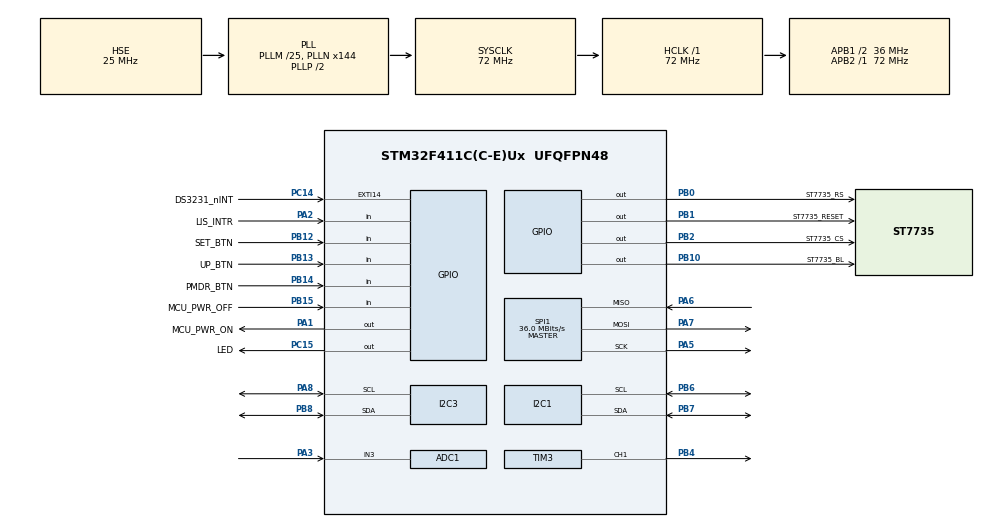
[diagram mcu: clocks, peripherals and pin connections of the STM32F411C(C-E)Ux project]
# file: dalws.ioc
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ADC1.Channel-0\#ChannelRegularConversion=ADC_CHANNEL_3
ADC1.NbrOfConversionFlag=1
ADC1.Rank-0\#ChannelRegularConversion=1
ADC1.SamplingTime-0\#ChannelRegularConversion=ADC_SAMPLETIME_3CYCLES
ADC1.master=1
Dma.Request0=SPI1_TX
Dma.SPI1_TX.0.Direction=DMA_MEMORY_TO_PERIPH
Dma.SPI1_TX.0.FIFOMode=DMA_FIFOMODE_DISABLE
Dma.SPI1_TX.0.Instance=DMA2_Stream2
Dma.SPI1_TX.0.MemDataAlignment=DMA_MDATAALIGN_BYTE
Dma.SPI1_TX.0.MemInc=DMA_MINC_ENABLE
Dma.SPI1_TX.0.Mode=DMA_NORMAL
Dma.SPI1_TX.0.PeriphDataAlignment=DMA_PDATAALIGN_BYTE
Dma.SPI1_TX.0.PeriphInc=DMA_PINC_DISABLE
Dma.SPI1_TX.0.Priority=DMA_PRIORITY_LOW
Mcu.Family=STM32F4
Mcu.Name=STM32F411C(C-E)Ux
Mcu.Package=UFQFPN48
NVIC.DMA2_Stream2_IRQn=true\:0\:0\:false\:false\:true\:false\:true\:true
NVIC.EXTI15_10_IRQn=true\:0\:0\:false\:false\:true\:true\:true\:true
NVIC.PriorityGroup=NVIC_PRIORITYGROUP_4
NVIC.TIM1_TRG_COM_TIM11_IRQn=true\:0\:0\:false\:false\:true\:true\:true\:true
NVIC.TIM1_UP_TIM10_IRQn=true\:0\:0\:false\:false\:true\:true\:true\:true
PA1.GPIO_Label=MCU_PWR_ON
PA1.Signal=GPIO_Output
PA13.Mode=Trace_Asynchronous_SW
PA13.Signal=SYS_JTMS-SWDIO
PA14.Mode=Trace_Asynchronous_SW
PA14.Signal=SYS_JTCK-SWCLK
PA2.GPIO_Label=LIS_INTR
PA2.Signal=GPIO_Input
PA3.Signal=ADCx_IN3
PA5.Mode=Full_Duplex_Master
PA5.Signal=SPI1_SCK
PA6.Mode=Full_Duplex_Master
PA6.Signal=SPI1_MISO
PA7.Mode=Full_Duplex_Master
PA7.Signal=SPI1_MOSI
PA8.GPIO_Pu=GPIO_PULLUP
PA8.Mode=I2C
PA8.Signal=I2C3_SCL
PB0.GPIO_Label=ST7735_RS
PB0.Signal=GPIO_Output
PB1.GPIO_Label=ST7735_RESET
PB1.Signal=GPIO_Output
PB10.GPIO_Label=ST7735_BL
PB10.Signal=GPIO_Output
PB12.GPIO_Label=SET_BTN
PB12.GPIO_PuPd=GPIO_PULLUP
PB12.Signal=GPIO_Input
PB13.GPIO_Label=UP_BTN
PB13.GPIO_PuPd=GPIO_PULLUP
PB13.Signal=GPIO_Input
PB14.GPIO_Label=PMDR_BTN
PB14.GPIO_PuPd=GPIO_PULLUP
PB14.Signal=GPIO_Input
PB15.GPIO_Label=MCU_PWR_OFF
PB15.GPIO_PuPd=GPIO_PULLUP
PB15.Signal=GPIO_Input
PB2.GPIO_Label=ST7735_CS
PB2.Signal=GPIO_Output
PB3.Mode=Trace_Asynchronous_SW
PB3.Signal=SYS_JTDO-SWO
PB4.Signal=S_TIM3_CH1
PB6.GPIO_Pu=GPIO_PULLUP
PB6.Mode=I2C
PB6.Signal=I2C1_SCL
PB7.GPIO_Pu=GPIO_PULLUP
PB7.Mode=I2C
PB7.Signal=I2C1_SDA
PB8.GPIO_Pu=GPIO_PULLUP
PB8.Mode=I2C
PB8.Signal=I2C3_SDA
PC14-OSC32_IN.GPIO_Label=DS3231_nINT
PC14-OSC32_IN.GPIO_ModeDefaultEXTI=GPIO_MODE_IT_FALLING
PC14-OSC32_IN.Signal=GPXTI14
PC15-OSC32_OUT.GPIO_Label=LED
PC15-OSC32_OUT.Signal=GPIO_Output
PH0\ -\ OSC_IN.Mode=HSE-External-Oscillator
PH0\ -\ OSC_IN.Signal=RCC_OSC_IN
PH1\ -\ OSC_OUT.Mode=HSE-External-Oscillator
PH1\ -\ OSC_OUT.Signal=RCC_OSC_OUT
ProjectManager.HeapSize=0x200
ProjectManager.StackSize=0x400
ProjectManager.TargetToolchain=Makefile
RCC.48MHZClocksFreq_Value=36000000
RCC.AHBFreq_Value=72000000
RCC.APB1CLKDivider=RCC_HCLK_DIV2
RCC.APB1Freq_Value=36000000
RCC.APB1TimFreq_Value=72000000
RCC.APB2Freq_Value=72000000
RCC.APB2TimFreq_Value=72000000
RCC.CortexFreq_Value=72000000
RCC.HCLKFreq_Value=72000000
RCC.HSE_VALUE=25000000
RCC.HSI_VALUE=16000000
RCC.LSE_VALUE=32768
RCC.PLLM=25
RCC.PLLN=144
RCC.PLLSourceVirtual=RCC_PLLSOURCE_HSE
RCC.SYSCLKFreq_VALUE=72000000
RCC.SYSCLKSource=RCC_SYSCLKSOURCE_PLLCLK
RCC.VCOOutputFreq_Value=144000000
SH.ADCx_IN3.0=ADC1_IN3,IN3
SH.S_TIM3_CH1.0=TIM3_CH1,PWM Generation1 CH1
SPI1.BaudRatePrescaler=SPI_BAUDRATEPRESCALER_2
SPI1.CalculateBaudRate=36.0 MBits/s
SPI1.DataSize=SPI_DATASIZE_8BIT
SPI1.Direction=SPI_DIRECTION_2LINES
SPI1.Mode=SPI_MODE_MASTER
SPI1.VirtualType=VM_MASTER
TIM10.Period=1000 - 1
TIM10.Prescaler=7200 - 1
TIM11.Period=10000 - 1
TIM11.Prescaler=7200 - 1
TIM3.AutoReloadPreload=TIM_AUTORELOAD_PRELOAD_ENABLE
TIM3.Channel-PWM\ Generation1\ CH1=TIM_CHANNEL_1
TIM3.Period=100 - 1
TIM3.Prescaler=36000 - 1
VP_TIM10_VS_ClockSourceINT.Mode=Enable_Timer
VP_TIM11_VS_ClockSourceINT.Mode=Enable_Timer
board=custom

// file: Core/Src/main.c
/* USER CODE BEGIN Header */
/**
  ******************************************************************************
  * @file           : main.c
  * @brief          : Main program body
  ******************************************************************************
  * @attention
  *
  * Copyright (c) 2024 STMicroelectronics.
  * All rights reserved.
  *
  * This software is licensed under terms that can be found in the LICENSE file
  * in the root directory of this software component.
  * If no LICENSE file comes with this software, it is provided AS-IS.
  *
  ******************************************************************************
  */
/* USER CODE END Header */
#include "main.h"

/* USER CODE BEGIN Includes */
#include "hdc1080.h"
#include "ds3231.h"
#include "lvgl.h"
#include "lv_port.h"
#include "ui.h"
#include "display.h"
#include "clock.h"
// #include "hdc1080.h"
/* USER CODE END Includes */

ADC_HandleTypeDef hadc1;

I2C_HandleTypeDef hi2c1;
I2C_HandleTypeDef hi2c3;

SPI_HandleTypeDef hspi1;
DMA_HandleTypeDef hdma_spi1_tx;

TIM_HandleTypeDef htim3;
TIM_HandleTypeDef htim10;
TIM_HandleTypeDef htim11;

/* USER CODE BEGIN PV */
bool state;
ds3231_t ds3231;
char buffer[100];
/* USER CODE END PV */

void SystemClock_Config(void);
static void MX_GPIO_Init(void);
static void MX_DMA_Init(void);
static void MX_I2C1_Init(void);
static void MX_SPI1_Init(void);
static void MX_TIM3_Init(void);
static void MX_TIM10_Init(void);
static void MX_ADC1_Init(void);
static void MX_I2C3_Init(void);
static void MX_TIM11_Init(void);

/* USER CODE BEGIN 0 */

void play_melody(void)
{
  for (int i = 10; i < 30; i++) {
    __HAL_TIM_SET_AUTORELOAD(&htim3, 20 * 2);
    __HAL_TIM_SET_COMPARE(&htim3, TIM_CHANNEL_1, 20);
    HAL_Delay(100);
  }
}

void display_temp_humid(void)
{
  uint16_t tempHumid[2];
  int realTemp, realHumid;
  char str[10];

  hdc1080_get_data(tempHumid);
  realTemp = (tempHumid[0]  * 165) / 65535 - 40;
  lv_snprintf(str, 10, "%d\n", (int)realTemp);
  lv_label_set_text(ui_tempnum, str);
  realHumid = (tempHumid[1]  * 100) / 65536;
  lv_snprintf(str, 10, "%d", (int)realHumid);
  lv_label_set_text(ui_humidnum, str);
}
/* USER CODE END 0 */

int main(void)
{

  /* MCU Configuration--------------------------------------------------------*/

  /* Reset of all peripherals, Initializes the Flash interface and the Systick. */
  HAL_Init();

  /* Configure the system clock */
  SystemClock_Config();

  /* Initialize all configured peripherals */
  MX_GPIO_Init();
  MX_DMA_Init();
  MX_I2C1_Init();
  MX_SPI1_Init();
  MX_TIM3_Init();
  MX_TIM10_Init();
  MX_ADC1_Init();
  MX_I2C3_Init();
  MX_TIM11_Init();
  /* USER CODE BEGIN 2 */
  HAL_GPIO_WritePin(MCU_PWR_ON_GPIO_Port, MCU_PWR_ON_Pin, 1);
  HAL_GPIO_WritePin(ST7735_BL_GPIO_Port, ST7735_BL_Pin, 1);
  HAL_GPIO_WritePin(LED_GPIO_Port, LED_Pin, 1);
  state = 1;
  ds3231_init(&hi2c3, &ds3231);
  hdc1080_init(&hi2c1);
  lv_init();
  lv_port_disp_init(&hspi1);
  ui_init();
  clk_init();
  HAL_TIM_Base_Start_IT(&htim10);

  /* USER CODE END 2 */

  /* Infinite loop */
  while (1)
  {

    /* USER CODE BEGIN 3 */
    lv_timer_handler_run_in_period(5);
    if (state && !HAL_GPIO_ReadPin(MCU_PWR_OFF_GPIO_Port, MCU_PWR_OFF_Pin)) {
      HAL_GPIO_WritePin(LED_GPIO_Port, LED_Pin, 0);
      HAL_Delay(1000);
      if (!HAL_GPIO_ReadPin(MCU_PWR_OFF_GPIO_Port, MCU_PWR_OFF_Pin)) {
        HAL_GPIO_WritePin(LED_GPIO_Port, LED_Pin, 1);
        HAL_GPIO_WritePin(MCU_PWR_ON_GPIO_Port, MCU_PWR_ON_Pin, 0);
      }
    }
  }
  /* USER CODE END 3 */
}

void SystemClock_Config(void)
{
  RCC_OscInitTypeDef RCC_OscInitStruct = {0};
  RCC_ClkInitTypeDef RCC_ClkInitStruct = {0};

  /** Configure the main internal regulator output voltage
  */
  __HAL_RCC_PWR_CLK_ENABLE();
  __HAL_PWR_VOLTAGESCALING_CONFIG(PWR_REGULATOR_VOLTAGE_SCALE1);

  /** Initializes the RCC Oscillators according to the specified parameters
  * in the RCC_OscInitTypeDef structure.
  */
  RCC_OscInitStruct.OscillatorType = RCC_OSCILLATORTYPE_HSE;
  RCC_OscInitStruct.HSEState = RCC_HSE_ON;
  RCC_OscInitStruct.PLL.PLLState = RCC_PLL_ON;
  RCC_OscInitStruct.PLL.PLLSource = RCC_PLLSOURCE_HSE;
  RCC_OscInitStruct.PLL.PLLM = 25;
  RCC_OscInitStruct.PLL.PLLN = 144;
  RCC_OscInitStruct.PLL.PLLP = RCC_PLLP_DIV2;
  RCC_OscInitStruct.PLL.PLLQ = 4;
  if (HAL_RCC_OscConfig(&RCC_OscInitStruct) != HAL_OK)
  {
    Error_Handler();
  }

  /** Initializes the CPU, AHB and APB buses clocks
  */
  RCC_ClkInitStruct.ClockType = RCC_CLOCKTYPE_HCLK|RCC_CLOCKTYPE_SYSCLK
                              |RCC_CLOCKTYPE_PCLK1|RCC_CLOCKTYPE_PCLK2;
  RCC_ClkInitStruct.SYSCLKSource = RCC_SYSCLKSOURCE_PLLCLK;
  RCC_ClkInitStruct.AHBCLKDivider = RCC_SYSCLK_DIV1;
  RCC_ClkInitStruct.APB1CLKDivider = RCC_HCLK_DIV2;
  RCC_ClkInitStruct.APB2CLKDivider = RCC_HCLK_DIV1;

  if (HAL_RCC_ClockConfig(&RCC_ClkInitStruct, FLASH_LATENCY_2) != HAL_OK)
  {
    Error_Handler();
  }
}

static void MX_ADC1_Init(void)
{

  ADC_ChannelConfTypeDef sConfig = {0};

  /** Configure the global features of the ADC (Clock, Resolution, Data Alignment and number of conversion)
  */
  hadc1.Instance = ADC1;
  hadc1.Init.ClockPrescaler = ADC_CLOCK_SYNC_PCLK_DIV2;
  hadc1.Init.Resolution = ADC_RESOLUTION_12B;
  hadc1.Init.ScanConvMode = DISABLE;
  hadc1.Init.ContinuousConvMode = DISABLE;
  hadc1.Init.DiscontinuousConvMode = DISABLE;
  hadc1.Init.ExternalTrigConvEdge = ADC_EXTERNALTRIGCONVEDGE_NONE;
  hadc1.Init.ExternalTrigConv = ADC_SOFTWARE_START;
  hadc1.Init.DataAlign = ADC_DATAALIGN_RIGHT;
  hadc1.Init.NbrOfConversion = 1;
  hadc1.Init.DMAContinuousRequests = DISABLE;
  hadc1.Init.EOCSelection = ADC_EOC_SINGLE_CONV;
  if (HAL_ADC_Init(&hadc1) != HAL_OK)
  {
    Error_Handler();
  }

  /** Configure for the selected ADC regular channel its corresponding rank in the sequencer and its sample time.
  */
  sConfig.Channel = ADC_CHANNEL_3;
  sConfig.Rank = 1;
  sConfig.SamplingTime = ADC_SAMPLETIME_3CYCLES;
  if (HAL_ADC_ConfigChannel(&hadc1, &sConfig) != HAL_OK)
  {
    Error_Handler();
  }

}

static void MX_I2C1_Init(void)
{

  hi2c1.Instance = I2C1;
  hi2c1.Init.ClockSpeed = 100000;
  hi2c1.Init.DutyCycle = I2C_DUTYCYCLE_2;
  hi2c1.Init.OwnAddress1 = 0;
  hi2c1.Init.AddressingMode = I2C_ADDRESSINGMODE_7BIT;
  hi2c1.Init.DualAddressMode = I2C_DUALADDRESS_DISABLE;
  hi2c1.Init.OwnAddress2 = 0;
  hi2c1.Init.GeneralCallMode = I2C_GENERALCALL_DISABLE;
  hi2c1.Init.NoStretchMode = I2C_NOSTRETCH_DISABLE;
  if (HAL_I2C_Init(&hi2c1) != HAL_OK)
  {
    Error_Handler();
  }

}

static void MX_I2C3_Init(void)
{

  hi2c3.Instance = I2C3;
  hi2c3.Init.ClockSpeed = 100000;
  hi2c3.Init.DutyCycle = I2C_DUTYCYCLE_2;
  hi2c3.Init.OwnAddress1 = 0;
  hi2c3.Init.AddressingMode = I2C_ADDRESSINGMODE_7BIT;
  hi2c3.Init.DualAddressMode = I2C_DUALADDRESS_DISABLE;
  hi2c3.Init.OwnAddress2 = 0;
  hi2c3.Init.GeneralCallMode = I2C_GENERALCALL_DISABLE;
  hi2c3.Init.NoStretchMode = I2C_NOSTRETCH_DISABLE;
  if (HAL_I2C_Init(&hi2c3) != HAL_OK)
  {
    Error_Handler();
  }

}

static void MX_SPI1_Init(void)
{

  /* SPI1 parameter configuration*/
  hspi1.Instance = SPI1;
  hspi1.Init.Mode = SPI_MODE_MASTER;
  hspi1.Init.Direction = SPI_DIRECTION_2LINES;
  hspi1.Init.DataSize = SPI_DATASIZE_8BIT;
  hspi1.Init.CLKPolarity = SPI_POLARITY_LOW;
  hspi1.Init.CLKPhase = SPI_PHASE_1EDGE;
  hspi1.Init.NSS = SPI_NSS_SOFT;
  hspi1.Init.BaudRatePrescaler = SPI_BAUDRATEPRESCALER_2;
  hspi1.Init.FirstBit = SPI_FIRSTBIT_MSB;
  hspi1.Init.TIMode = SPI_TIMODE_DISABLE;
  hspi1.Init.CRCCalculation = SPI_CRCCALCULATION_DISABLE;
  hspi1.Init.CRCPolynomial = 10;
  if (HAL_SPI_Init(&hspi1) != HAL_OK)
  {
    Error_Handler();
  }

}

static void MX_TIM3_Init(void)
{

  TIM_MasterConfigTypeDef sMasterConfig = {0};
  TIM_OC_InitTypeDef sConfigOC = {0};

  htim3.Instance = TIM3;
  htim3.Init.Prescaler = 36000 - 1;
  htim3.Init.CounterMode = TIM_COUNTERMODE_UP;
  htim3.Init.Period = 100 - 1;
  htim3.Init.ClockDivision = TIM_CLOCKDIVISION_DIV1;
  htim3.Init.AutoReloadPreload = TIM_AUTORELOAD_PRELOAD_ENABLE;
  if (HAL_TIM_PWM_Init(&htim3) != HAL_OK)
  {
    Error_Handler();
  }
  sMasterConfig.MasterOutputTrigger = TIM_TRGO_RESET;
  sMasterConfig.MasterSlaveMode = TIM_MASTERSLAVEMODE_DISABLE;
  if (HAL_TIMEx_MasterConfigSynchronization(&htim3, &sMasterConfig) != HAL_OK)
  {
    Error_Handler();
  }
  sConfigOC.OCMode = TIM_OCMODE_PWM1;
  sConfigOC.Pulse = 0;
  sConfigOC.OCPolarity = TIM_OCPOLARITY_HIGH;
  sConfigOC.OCFastMode = TIM_OCFAST_DISABLE;
  if (HAL_TIM_PWM_ConfigChannel(&htim3, &sConfigOC, TIM_CHANNEL_1) != HAL_OK)
  {
    Error_Handler();
  }
  HAL_TIM_MspPostInit(&htim3);

}

static void MX_TIM10_Init(void)
{

  htim10.Instance = TIM10;
  htim10.Init.Prescaler = 7200 - 1;
  htim10.Init.CounterMode = TIM_COUNTERMODE_UP;
  htim10.Init.Period = 1000 - 1;
  htim10.Init.ClockDivision = TIM_CLOCKDIVISION_DIV1;
  htim10.Init.AutoReloadPreload = TIM_AUTORELOAD_PRELOAD_DISABLE;
  if (HAL_TIM_Base_Init(&htim10) != HAL_OK)
  {
    Error_Handler();
  }

}

static void MX_TIM11_Init(void)
{

  htim11.Instance = TIM11;
  htim11.Init.Prescaler = 7200 - 1;
  htim11.Init.CounterMode = TIM_COUNTERMODE_UP;
  htim11.Init.Period = 10000 - 1;
  htim11.Init.ClockDivision = TIM_CLOCKDIVISION_DIV1;
  htim11.Init.AutoReloadPreload = TIM_AUTORELOAD_PRELOAD_DISABLE;
  if (HAL_TIM_Base_Init(&htim11) != HAL_OK)
  {
    Error_Handler();
  }

}

static void MX_DMA_Init(void)
{

  /* DMA controller clock enable */
  __HAL_RCC_DMA2_CLK_ENABLE();

  /* DMA interrupt init */
  /* DMA2_Stream2_IRQn interrupt configuration */
  HAL_NVIC_SetPriority(DMA2_Stream2_IRQn, 0, 0);
  HAL_NVIC_EnableIRQ(DMA2_Stream2_IRQn);

}

static void MX_GPIO_Init(void)
{
  GPIO_InitTypeDef GPIO_InitStruct = {0};

  /* GPIO Ports Clock Enable */
  __HAL_RCC_GPIOC_CLK_ENABLE();
  __HAL_RCC_GPIOH_CLK_ENABLE();
  __HAL_RCC_GPIOA_CLK_ENABLE();
  __HAL_RCC_GPIOB_CLK_ENABLE();

  /*Configure GPIO pin Output Level */
  HAL_GPIO_WritePin(LED_GPIO_Port, LED_Pin, GPIO_PIN_RESET);

  /*Configure GPIO pin Output Level */
  HAL_GPIO_WritePin(MCU_PWR_ON_GPIO_Port, MCU_PWR_ON_Pin, GPIO_PIN_RESET);

  /*Configure GPIO pin Output Level */
  HAL_GPIO_WritePin(GPIOB, ST7735_RS_Pin|ST7735_RESET_Pin|ST7735_CS_Pin|ST7735_BL_Pin, GPIO_PIN_RESET);

  /*Configure GPIO pin : DS3231_nINT_Pin */
  GPIO_InitStruct.Pin = DS3231_nINT_Pin;
  GPIO_InitStruct.Mode = GPIO_MODE_IT_FALLING;
  GPIO_InitStruct.Pull = GPIO_NOPULL;
  HAL_GPIO_Init(DS3231_nINT_GPIO_Port, &GPIO_InitStruct);

  /*Configure GPIO pin : LED_Pin */
  GPIO_InitStruct.Pin = LED_Pin;
  GPIO_InitStruct.Mode = GPIO_MODE_OUTPUT_PP;
  GPIO_InitStruct.Pull = GPIO_NOPULL;
  GPIO_InitStruct.Speed = GPIO_SPEED_FREQ_LOW;
  HAL_GPIO_Init(LED_GPIO_Port, &GPIO_InitStruct);

  /*Configure GPIO pin : MCU_PWR_ON_Pin */
  GPIO_InitStruct.Pin = MCU_PWR_ON_Pin;
  GPIO_InitStruct.Mode = GPIO_MODE_OUTPUT_PP;
  GPIO_InitStruct.Pull = GPIO_NOPULL;
  GPIO_InitStruct.Speed = GPIO_SPEED_FREQ_LOW;
  HAL_GPIO_Init(MCU_PWR_ON_GPIO_Port, &GPIO_InitStruct);

  /*Configure GPIO pin : LIS_INTR_Pin */
  GPIO_InitStruct.Pin = LIS_INTR_Pin;
  GPIO_InitStruct.Mode = GPIO_MODE_INPUT;
  GPIO_InitStruct.Pull = GPIO_NOPULL;
  HAL_GPIO_Init(LIS_INTR_GPIO_Port, &GPIO_InitStruct);

  /*Configure GPIO pins : ST7735_RS_Pin ST7735_RESET_Pin ST7735_CS_Pin ST7735_BL_Pin */
  GPIO_InitStruct.Pin = ST7735_RS_Pin|ST7735_RESET_Pin|ST7735_CS_Pin|ST7735_BL_Pin;
  GPIO_InitStruct.Mode = GPIO_MODE_OUTPUT_PP;
  GPIO_InitStruct.Pull = GPIO_NOPULL;
  GPIO_InitStruct.Speed = GPIO_SPEED_FREQ_LOW;
  HAL_GPIO_Init(GPIOB, &GPIO_InitStruct);

  /*Configure GPIO pins : SET_BTN_Pin UP_BTN_Pin PMDR_BTN_Pin MCU_PWR_OFF_Pin */
  GPIO_InitStruct.Pin = SET_BTN_Pin|UP_BTN_Pin|PMDR_BTN_Pin|MCU_PWR_OFF_Pin;
  GPIO_InitStruct.Mode = GPIO_MODE_INPUT;
  GPIO_InitStruct.Pull = GPIO_PULLUP;
  HAL_GPIO_Init(GPIOB, &GPIO_InitStruct);

  /* EXTI interrupt init*/
  HAL_NVIC_SetPriority(EXTI15_10_IRQn, 0, 0);
  HAL_NVIC_EnableIRQ(EXTI15_10_IRQn);

}

void Error_Handler(void)
{
  __disable_irq();
  while (1)
  {
  }
}
